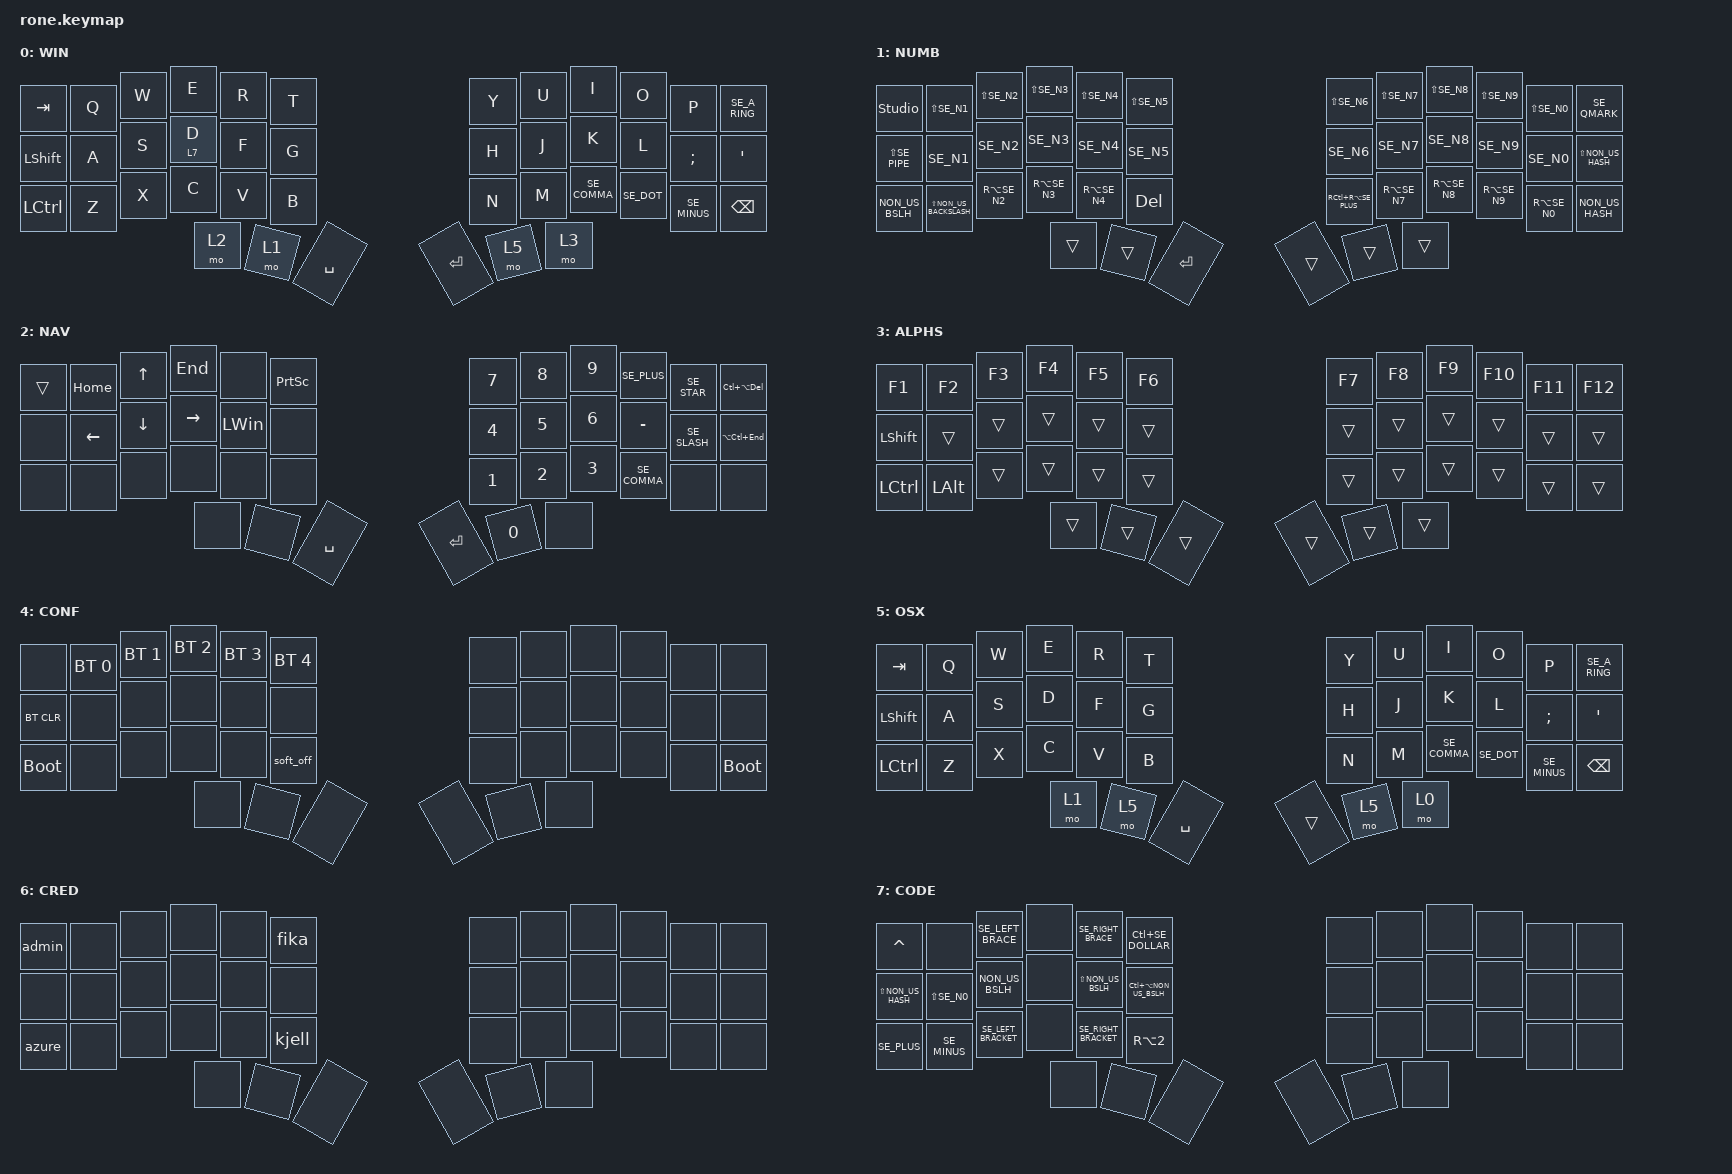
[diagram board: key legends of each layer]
/*
 * Copyright (c) 2020 The ZMK Contributors
 * SPDX-License-Identifier: MIT
 *
 * Rone 42-key — your layout, preserved.
 * Layers: 0 WIN  1 NUMB  2 NAV  3 ALPHS(F-keys)  4 CONF  5 OSX  6 CRED  7 CODE
 */

#include "keys_se.h"
#include <behaviors.dtsi>
#include <dt-bindings/zmk/bt.h>
#include <dt-bindings/zmk/keys.h>

/* Only soft-off after a 5 second hold. */
&soft_off {
    hold-time-ms = <5000>;
};

/ {
    combos {
        compatible = "zmk,combos";

        conf_layer {
            bindings = <&mo 4>;
            key-positions = <36 41>;
        };

        cred_layer {
            bindings = <&mo 6>;
            key-positions = <36 37>;
        };

        fika {
            bindings = <&fika>;
            key-positions = <5 4 37 36>;
            layers = <6>;
        };

        kjell {
            bindings = <&kjell>;
            key-positions = <4 3 37 36>;
        };

        admin {
            bindings = <&admin>;
            key-positions = <1 0 37 36>;
        };

        dta {
            bindings = <&azure>;
            key-positions = <1 2 37 36>;
        };

        lasso {
            bindings = <&lasso>;
            key-positions = <16 15 37 36>;
        };

        esc {
            bindings = <&kp ESC>;
            key-positions = <0 1>;
            layers = <0 5>;
        };
    };

    macros {
        lasso: lasso {
            compatible = "zmk,behavior-macro";
            #binding-cells = <0>;
            bindings = <&kp LS(L) &kp A &kp S &kp S &kp O &kp PRCNT>;
            label = "LASSO";
        };

        fika: fika {
            compatible = "zmk,behavior-macro";
            #binding-cells = <0>;
            bindings = <&kp F &kp I &kp K &kp A &kp LS(T) &kp LS(I) &kp LS(L) &kp LS(L) &kp F &kp R &kp U &kp K &kp O &kp S &kp T &kp N3 &kp N2 &kp N1 &kp N9 &kp EXCL &kp SE_QUESTION &kp SE_QUESTION>;
            label = "FIKA";
        };

        admin: admin {
            compatible = "zmk,behavior-macro";
            #binding-cells = <0>;
            bindings = <&kp F &kp I &kp K &kp A &kp LS(T) &kp LS(I) &kp LS(L) &kp LS(L) &kp A &kp D &kp M &kp I &kp N &kp N3 &kp N2 &kp N1 &kp N9 &kp EXCL &kp SE_QUESTION &kp SE_QUESTION>;
            label = "ADMIN";
        };

        azure: azure {
            compatible = "zmk,behavior-macro";
            #binding-cells = <0>;
            bindings = <&kp D &kp T &kp A &kp RA(NUMBER_2) &kp K &kp J &kp E &kp L &kp L &kp DOT &kp C &kp O &kp M>;
            label = "AZURE";
        };

        kjell: kjell {
            compatible = "zmk,behavior-macro";
            #binding-cells = <0>;
            bindings = <&kp D &kp A &kp V &kp I &kp D &kp DOT &kp T &kp O &kp R &kp N &kp V &kp A &kp L &kp L &kp RA(NUMBER_2) &kp K &kp J &kp E &kp L &kp L &kp DOT &kp C &kp O &kp M>;
            label = "KJELL";
        };
    };

    keymap {
        compatible = "zmk,keymap";

        win_layer {
            display-name = "WIN";
            bindings = <
&kp TAB         &kp Q  &kp W  &kp E    &kp R  &kp T      &kp Y      &kp U  &kp I         &kp O       &kp P         &kp SE_A_RING
&kp LEFT_SHIFT  &kp A  &kp S  &lt 7 D  &kp F  &kp G      &kp H      &kp J  &kp K         &kp L       &kp SEMI      &kp SQT
&kp LCTRL       &kp Z  &kp X  &kp C    &kp V  &kp B      &kp N      &kp M  &kp SE_COMMA  &kp SE_DOT  &kp SE_MINUS  &kp BACKSPACE
                              &mo 2    &mo 1  &kp SPACE  &kp ENTER  &mo 5  &mo 3
            >;
        };

        numb_layer {
            display-name = "NUMB";
            bindings = <
&studio_unlock   &kp LS(SE_N1)             &kp LS(SE_N2)  &kp LS(SE_N3)  &kp LS(SE_N4)  &kp LS(SE_N5)  &kp LS(SE_N6)        &kp LS(SE_N7)  &kp LS(SE_N8)  &kp LS(SE_N9)  &kp LS(SE_N0)  &kp SE_QMARK
&kp LS(SE_PIPE)  &kp SE_N1                 &kp SE_N2      &kp SE_N3      &kp SE_N4      &kp SE_N5      &kp SE_N6            &kp SE_N7      &kp SE_N8      &kp SE_N9      &kp SE_N0      &kp LS(NON_US_HASH)
&kp NON_US_BSLH  &kp LS(NON_US_BACKSLASH)  &kp RA(SE_N2)  &kp RA(SE_N3)  &kp RA(SE_N4)  &kp DELETE     &kp RC(RA(SE_PLUS))  &kp RA(SE_N7)  &kp RA(SE_N8)  &kp RA(SE_N9)  &kp RA(SE_N0)  &kp NON_US_HASH
                                                          &trans         &trans         &kp ENTER      &trans               &trans         &trans
            >;
        };

        nav_layer {
            display-name = "NAV";
            bindings = <
&trans  &kp HOME  &kp UP    &kp END    &none         &kp PRINTSCREEN  &kp N7     &kp N8  &kp N9  &kp SE_PLUS   &kp SE_STAR   &kp LC(LA(DELETE))
&none   &kp LEFT  &kp DOWN  &kp RIGHT  &kp LEFT_WIN  &none            &kp N4     &kp N5  &kp N6  &kp MINUS     &kp SE_SLASH  &kp LA(LC(END))
&none   &none     &none     &none      &none         &none            &kp N1     &kp N2  &kp N3  &kp SE_COMMA  &none         &none
                            &none      &none         &kp SPACE        &kp ENTER  &kp N0  &none
            >;
        };

        func_layer {
            display-name = "ALPHS";
            bindings = <
&kp F1     &kp F2    &kp F3  &kp F4  &kp F5  &kp F6  &kp F7  &kp F8  &kp F9  &kp F10  &kp F11  &kp F12
&kp LSHFT  &trans    &trans  &trans  &trans  &trans  &trans  &trans  &trans  &trans   &trans   &trans
&kp LCTRL  &kp LALT  &trans  &trans  &trans  &trans  &trans  &trans  &trans  &trans   &trans   &trans
                             &trans  &trans  &trans  &trans  &trans  &trans
            >;
        };

        conf_layer {
            display-name = "CONF";
            bindings = <
&none        &bt BT_SEL 0  &bt BT_SEL 1  &bt BT_SEL 2  &bt BT_SEL 3  &bt BT_SEL 4  &none  &none  &none  &none  &none  &none
&bt BT_CLR   &none         &none         &none         &none         &none         &none  &none  &none  &none  &none  &none
&bootloader  &none         &none         &none         &none         &soft_off     &none  &none  &none  &none  &none  &bootloader
                                         &none         &none         &none         &none  &none  &none
            >;
        };

        mac_layer {
            display-name = "OSX";
            bindings = <
&kp TAB         &kp Q  &kp W  &kp E  &kp R  &kp T      &kp Y    &kp U  &kp I         &kp O       &kp P         &kp SE_A_RING
&kp LEFT_SHIFT  &kp A  &kp S  &kp D  &kp F  &kp G      &kp H    &kp J  &kp K         &kp L       &kp SEMI      &kp SQT
&kp LCTRL       &kp Z  &kp X  &kp C  &kp V  &kp B      &kp N    &kp M  &kp SE_COMMA  &kp SE_DOT  &kp SE_MINUS  &kp BACKSPACE
                              &mo 1  &mo 5  &kp SPACE  &trans   &mo 5  &mo 0
            >;
        };

        cred_layer {
            display-name = "CRED";
            bindings = <
&admin  &none  &none  &none  &none  &fika   &none  &none  &none  &none  &none  &none
&none   &none  &none  &none  &none  &none   &none  &none  &none  &none  &none  &none
&azure  &none  &none  &none  &none  &kjell  &none  &none  &none  &none  &none  &none
                      &none  &none  &none   &none  &none  &none
            >;
        };

        code_layer {
            display-name = "CODE";
            bindings = <
&kp CARET            &none          &kp SE_LEFT_BRACE    &none  &kp SE_RIGHT_BRACE    &kp LC(SE_DOLLAR)        &none  &none  &none  &none  &none  &none
&kp LS(NON_US_HASH)  &kp LS(SE_N0)  &kp NON_US_BSLH      &none  &kp LS(NON_US_BSLH)   &kp LC(LA(NON_US_BSLH))  &none  &none  &none  &none  &none  &none
&kp SE_PLUS          &kp SE_MINUS   &kp SE_LEFT_BRACKET  &none  &kp SE_RIGHT_BRACKET  &kp RA(NUMBER_2)         &none  &none  &none  &none  &none  &none
                                                         &none  &none                 &none                    &none  &none  &none
            >;
        };

        /* Empty headroom layers so you can add more in ZMK Studio
           without re-flashing. Remove if you don't want them. */
        reserved_1 {
            status = "reserved";
        };

        reserved_2 {
            status = "reserved";
        };
    };
};
